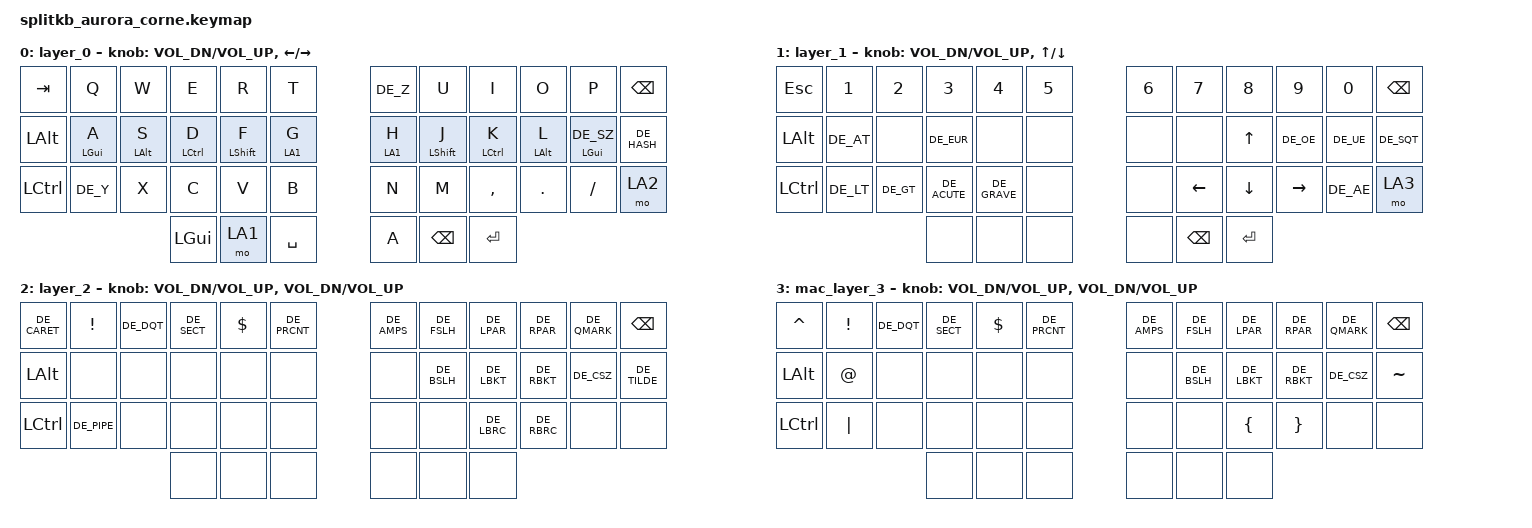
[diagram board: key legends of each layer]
// Copyright (c) 2020 The ZMK Contributors
//SPDX-License-Identifier: MIT

#include <behaviors.dtsi>
#include <dt-bindings/zmk/ext_power.h>  
#include <dt-bindings/zmk/keys.h>
#include "keys_de.h"

#define LA0   0
#define LA1   1
#define LA2   2
#define LA3   3

/ {

    behaviors {
        hm: homerow_mods {
            compatible = "zmk,behavior-hold-tap";
            label = "HOMEROW_MODS";
            #binding-cells = <2>;
            tapping-term-ms = <200>;
            quick_tap_ms = <0>;
            flavor = "tap-preferred";
            bindings = <&kp>, <&kp>;
        };
	td: tapdance {
            compatible = "zmk,behavior-hold-tap";
            label = "TAPDANCE";
            #binding-cells = <2>;
            tapping-term-ms = <150>;
            quick_tap_ms = <0>;
            flavor = "tap-preferred";
            bindings = <&kp>, <&kp>;
        };
    };

     keymap {
          compatible = "zmk,keymap";

          layer_0 {
               bindings = <
// ╭────────────────────┬────────────────────┬────────────────────┬────────────────────┬────────────────────┬────────────────────╮   ╭────────────────────┬────────────────────┬────────────────────┬────────────────────┬────────────────────┬────────────────────╮
// | TAB                | Q                  | W                  | E                  | R                  | T                  |   | Z                  | U                  | I                  | O                  | P                  | BKSP               |
     &kp TAB              &kp Q                &kp W                &kp E                &kp R                &kp T                    &kp DE_Z             &kp U                &kp I                &kp O                &kp P                &kp BSPC  
// ├────────────────────┼────────────────────┼────────────────────┼────────────────────┼────────────────────┼────────────────────┤   ├────────────────────┼────────────────────┼────────────────────┼────────────────────┼────────────────────┼────────────────────┤
// | SHFT               | A                  | S                  | D                  | F                  | G                  |   | H                  | J                  | K                  | L                  | DE_SZ              | DE_HAS             |
     &kp LALT             &hm LGUI A           &hm LALT S           &hm LCTRL D          &hm LSHFT F          &hm LA1 G                &hm LA1 H            &hm LSHFT J          &hm LCTRL K          &hm LALT L           &hm LGUI DE_SZ       &kp DE_HASH
// ├────────────────────┼────────────────────┼────────────────────┼────────────────────┼────────────────────┼────────────────────┤   ├────────────────────┼────────────────────┼────────────────────┼────────────────────┼────────────────────┼────────────────────┤
// | CTRL               | Y                  | X                  | C                  | V                  | B                  |   | N                  | M                  | ,                  | .                  | -                  | LA2                |
     &kp LCTRL            &kp DE_Y             &kp X                &kp C                &kp V                &kp B                    &kp N                &kp M                &kp COMMA            &kp DOT              &kp SLASH            &mo LA2
// ╰──────────────────────────────────────────────────────────────┬────────────────────┬────────────────────┬────────────────────┤   ├────────────────────┬────────────────────┬────────────────────┬──────────────────────────────────────────────────────────────╯
//                                                                | GUI                | LA1                | SPC                |   | A                  | BKSP               | ENT                |
                                                                    &kp LGUI             &mo LA1              &kp SPACE                &kp A                &kp BSPC             &kp RET
//                                                                ╰────────────────────┴────────────────────┴────────────────────╯   ╰────────────────────┴────────────────────┴────────────────────╯
               >;
               sensor-bindings = <&inc_dec_kp C_VOL_DN C_VOL_UP &inc_dec_kp LEFT RIGHT>;
          };

          layer_1 {
               bindings = <
// ╭────────────────────┬────────────────────┬────────────────────┬────────────────────┬────────────────────┬────────────────────╮   ╭────────────────────┬────────────────────┬────────────────────┬────────────────────┬────────────────────┬────────────────────╮
// | ESC                | 1                  | 2                  | 3                  | 4                  | 5                  |   | 6                  | 7                  | 8                  | 9                  | 0                  | BKSP               |
     &kp ESC              &kp N1               &kp N2               &kp N3               &kp N4               &kp N5                   &kp N6               &kp N7               &kp N8               &kp N9               &kp N0               &kp BSPC
// ├────────────────────┼────────────────────┼────────────────────┼────────────────────┼────────────────────┼────────────────────┤   ├────────────────────┼────────────────────┼────────────────────┼────────────────────┼────────────────────┼────────────────────┤
// | SHFT               | @                  |                    | €                  |                    |                    |   |                    |                    | UP                 | Ö                  | Ü                  | '                  |
     &kp LALT             &kp DE_AT            &none                &kp DE_EUR           &none                &none                    &none                &none                &kp UP               &kp DE_OE            &kp DE_UE            &kp DE_SQT
// ├────────────────────┼────────────────────┼────────────────────┼────────────────────┼────────────────────┼────────────────────┤   ├────────────────────┼────────────────────┼────────────────────┼────────────────────┼────────────────────┼────────────────────┤
// | CTRL               | <                  | >                  | ´                  | `                  |                    |   |                    | LFT                | DWN                | RGT                | Ä                  | LA3                |
     &kp LCTRL            &kp DE_LT            &kp DE_GT            &kp DE_ACUTE         &kp DE_GRAVE          &none                    &none                &kp LEFT             &kp DOWN             &kp RIGHT            &kp DE_AE            &mo LA3
// ╰──────────────────────────────────────────────────────────────┬────────────────────┬────────────────────┬────────────────────┤   ├────────────────────┬────────────────────┬────────────────────┬──────────────────────────────────────────────────────────────╯
//                                                                |                    |                    |                    |   |                    | BKSP               | ENT                |
                                                                    &none                &none                &none                    &none                &kp BSPC             &kp RET
//                                                                ╰────────────────────┴────────────────────┴────────────────────╯   ╰────────────────────┴────────────────────┴────────────────────╯
               >;
               sensor-bindings = <&inc_dec_kp C_VOL_DN C_VOL_UP &inc_dec_kp UP DOWN>;
          };

          layer_2 {
               bindings = <
// ╭────────────────────┬────────────────────┬────────────────────┬────────────────────┬────────────────────┬────────────────────╮   ╭────────────────────┬────────────────────┬────────────────────┬────────────────────┬────────────────────┬────────────────────╮
// | ^                  | !                  | "                  | §                  | $                  | %                  |   | &                  | /                  | (                  | )                  | ?                  | BKSP               |
     &kp DE_CARET         &kp EXCL             &kp DE_DQT           &kp DE_SECT          &kp DLLR             &kp DE_PRCNT             &kp DE_AMPS          &kp DE_FSLH          &kp DE_LPAR          &kp DE_RPAR          &kp DE_QMARK         &kp BSPC
// ├────────────────────┼────────────────────┼────────────────────┼────────────────────┼────────────────────┼────────────────────┤   ├────────────────────┼────────────────────┼────────────────────┼────────────────────┼────────────────────┼────────────────────┤
// | SHFT               |                    |                    |                    |                    |                    |   |                    | \                  | [                  | ]                  | ß                  | ~                  |
     &kp LALT             &none                &none                &none                &none                &none                    &none                &kp DE_BSLH          &kp DE_LBKT          &kp DE_RBKT          &kp DE_CSZ           &kp DE_TILDE
// ├────────────────────┼────────────────────┼────────────────────┼────────────────────┼────────────────────┼────────────────────┤   ├────────────────────┼────────────────────┼────────────────────┼────────────────────┼────────────────────┼────────────────────┤
// | CTRL               | |                  |                    |                    |                    |                    |   |                    |                    | {                  | }                  |                    |                    | 
     &kp LCTRL            &kp DE_PIPE          &none                &none                &none                &none                    &none                &none                &kp DE_LBRC          &kp DE_RBRC          &none                &none
// ╰──────────────────────────────────────────────────────────────┬────────────────────┬────────────────────┬────────────────────┤   ├────────────────────┬────────────────────┬────────────────────┬──────────────────────────────────────────────────────────────╯
//                                                                |                    |                    |                    |   |                    |                    |                    |
                                                                    &none                &none                &none                    &none                &none                &none
//                                                                ╰────────────────────┴────────────────────┴────────────────────╯   ╰────────────────────┴────────────────────┴────────────────────╯
               >;
               sensor-bindings = <&inc_dec_kp C_VOL_DN C_VOL_UP &inc_dec_kp C_VOL_DN C_VOL_UP>;
          };

          mac_layer_3 {
               bindings = <
// ╭────────────────────┬────────────────────┬────────────────────┬────────────────────┬────────────────────┬────────────────────╮   ╭────────────────────┬────────────────────┬────────────────────┬────────────────────┬────────────────────┬────────────────────╮
// | ^                  | !                  | "                  | §                  | $                  | %                  |   | &                  | /                  | (                  | )                  | ?                  | BKSP               |
     &kp CARET         &kp EXCL             &kp DE_DQT           &kp DE_SECT          &kp DLLR             &kp DE_PRCNT             &kp DE_AMPS          &kp DE_FSLH          &kp DE_LPAR          &kp DE_RPAR          &kp DE_QMARK         &kp BSPC
// ├────────────────────┼────────────────────┼────────────────────┼────────────────────┼────────────────────┼────────────────────┤   ├────────────────────┼────────────────────┼────────────────────┼────────────────────┼────────────────────┼────────────────────┤
// | SHFT               | @                  |                    |                    |                    |                    |   |                    | \                  | [                  | ]                  | ß                  | ~                  |
     &kp LALT             &kp AT               &none                &none                &none                &none                    &none                &kp DE_BSLH          &kp DE_LBKT          &kp DE_RBKT          &kp DE_CSZ           &kp TILDE
// ├────────────────────┼────────────────────┼────────────────────┼────────────────────┼────────────────────┼────────────────────┤   ├────────────────────┼────────────────────┼────────────────────┼────────────────────┼────────────────────┼────────────────────┤
// | CTRL               | |                  |                    |                    |                    |                    |   |                    |                    | {                  | }                  |                    |                    | 
     &kp LCTRL            &kp PIPE             &none                &none                &none                &none                    &none                &none                &kp LBRC             &kp RBRC             &none                &none
// ╰──────────────────────────────────────────────────────────────┬────────────────────┬────────────────────┬────────────────────┤   ├────────────────────┬────────────────────┬────────────────────┬──────────────────────────────────────────────────────────────╯
//                                                                |                    |                    |                    |   |                    |                    |                    |
                                                                    &none                &none                &none                    &none                &none                &none
//                                                                ╰────────────────────┴────────────────────┴────────────────────╯   ╰────────────────────┴────────────────────┴────────────────────╯
               >;
               sensor-bindings = <&inc_dec_kp C_VOL_DN C_VOL_UP &inc_dec_kp C_VOL_DN C_VOL_UP>;
          };
     };
};
